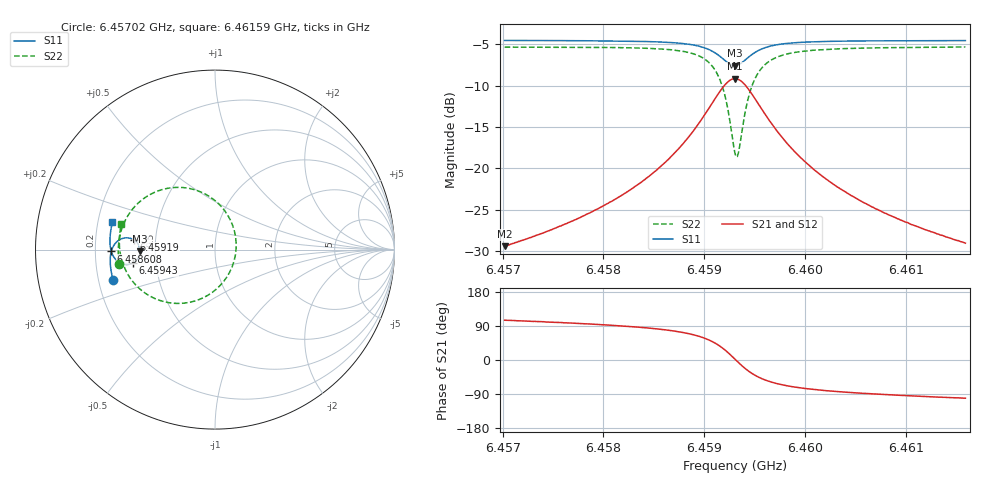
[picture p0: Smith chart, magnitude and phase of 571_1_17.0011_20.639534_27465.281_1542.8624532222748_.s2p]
#  HZ  S  RI  R  50.00
! Rohde & Schwarz Vector Network Analyzer
! Rohde-Schwarz,ZNB20-2Port,1311601062101988,3.16
! Created: UTC 3/20/2024, 11:17:43 PM
! freq[Hz]  re:S11  im:S11  re:S21  im:S21  re:S12  im:S12  re:S22  im:S22
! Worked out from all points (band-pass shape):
!   401 points, 6.45702 GHz to 6.46159 GHz, reference 50 ohm
!   highest |S21| = -9.16 dB at 6.459305 GHz (marker M1); lowest = -29.4 dB at 6.45702 GHz (marker M2)
!   |S21| within 3 dB of the highest: 6.459076 GHz to 6.459533 GHz (457.1 kHz wide, 0.00708 % of centre)
!   lowest |S11| = -7.6 dB at 6.459305 GHz (marker M3), VSWR 2.43, Z = 20.6 - j0.434 ohm
!   |S11| at or under -10 dB: nowhere
!   |S22| runs from -18.6 to -5.3 dB; largest |S21 - S12| = 0.014
!   S11 on the Smith chart (normalised r, x): 6.45702 GHz: 0.26, -0.14; 6.458608 GHz: 0.27, -0.01; 6.45919 GHz: 0.37, +0.05; 6.45943 GHz: 0.37, -0.07; 6.46159 GHz: 0.26, +0.12
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6.4570195e9  -0.5677 -0.169  -0.00876 0.0327  -0.00695 0.0326  -0.5339 -0.0808
6.457785e9  -0.5812 -0.1018  -0.00534 0.0508  -0.00281 0.0502  -0.5384 0.00928
6.4581963e9  -0.5838 -0.0606  0.000361 0.0697  0.0037 0.0684  -0.5303 0.0747
6.4585505e9  -0.5798 -0.0181  0.0147 0.0994  0.0188 0.0966  -0.5037 0.1546
6.4586076e9  -0.5779 -0.0103  0.0192 0.1064  0.0233 0.1031  -0.4955 0.1712
6.4588132e9  -0.5647 0.0218  0.047 0.1389  0.0512 0.1338  -0.4431 0.244
6.4589618e9  -0.5418 0.048  0.0927 0.1693  0.096 0.1626  -0.3586 0.3085
6.4590989e9  -0.4977 0.0655  0.1808 0.1859  0.1815 0.1784  -0.1977 0.3467
6.4591903e9  -0.4528 0.055  0.2712 0.1539  0.2714 0.1481  -0.0299 0.2952
6.4592588e9  -0.4237 0.0225  0.3319 0.0813  0.3341 0.0761  0.086 0.1639
6.4593045e9  -0.4169 -0.0087  0.3481 0.0127  0.3519 0.00571  0.1179 0.0354
6.4593159e9  -0.4173 -0.0169  0.3478 -0.00509  0.3517 -0.0129  0.1174 0.00162
6.4593388e9  -0.4208 -0.0327  0.342 -0.0401  0.346 -0.0494  0.1059 -0.065
6.4593845e9  -0.4365 -0.0589  0.3131 -0.1004  0.3152 -0.1124  0.047 -0.1791
6.4594302e9  -0.4588 -0.0752  0.2704 -0.1415  0.2697 -0.155  -0.0394 -0.2543
6.4595216e9  -0.5026 -0.0821  0.1849 -0.1725  0.1786 -0.1842  -0.2102 -0.2999
6.4596701e9  -0.5467 -0.0614  0.0964 -0.1583  0.0875 -0.1645  -0.3791 -0.2492
6.4598415e9  -0.5692 -0.0319  0.0491 -0.128  0.0415 -0.1308  -0.4635 -0.1713
6.46007e9  -0.5809 0.00192  0.0221 -0.0979  0.0162 -0.0986  -0.5077 -0.0929
6.4604127e9  -0.5854 0.0429  0.00603 -0.0709  0.00193 -0.0704  -0.5291 -0.0133
6.4608355e9  -0.5836 0.0854  -0.00173 -0.0521  -0.00452 -0.0514  -0.5331 0.0551
6.4615895e9  -0.5713 0.1522  -0.00664 -0.0347  -0.0084 -0.0339  -0.5214 0.1448
